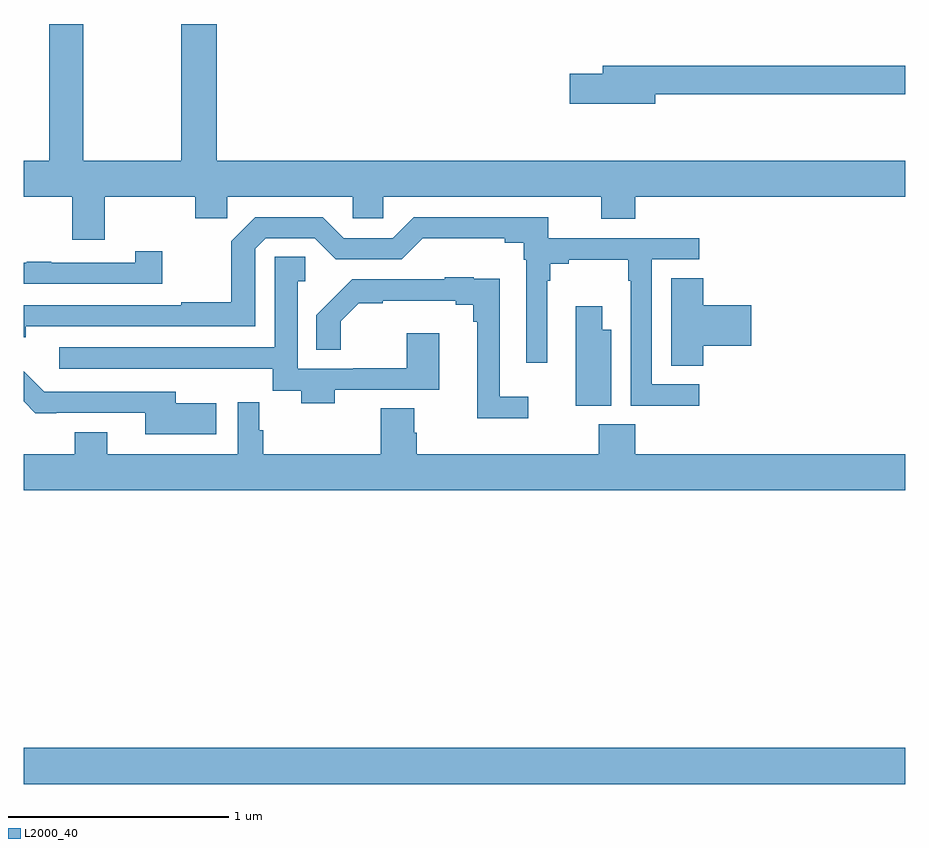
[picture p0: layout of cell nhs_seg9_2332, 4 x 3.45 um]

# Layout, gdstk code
import gdstk
lib = gdstk.Library(unit=1e-6, precision=1e-09)
def R(c, l, rs):  # rectangles x0, y0, x1, y1
    for r in rs: c.add(gdstk.rectangle(r[:2], r[2:], *l))
def P(c, l, *ps):  # polygons
    for p in ps: c.add(gdstk.Polygon(p, *l))
L2000_40 = (2000, 40)

nhs_seg9_2332 = lib.new_cell('nhs_seg9_2332')
R(nhs_seg9_2332, L2000_40, [(243,1231.052,247,1231.216)])
P(nhs_seg9_2332, L2000_40, [(243.778,1233.618),(243.923,1233.618),(243.923,1233.716),(244.494,1233.716),(244.494,1233.618),(244.632,1233.618),(244.632,1233.716),(245.621,1233.716),(245.621,1233.617),(245.774,1233.617),(245.774,1233.716),(247,1233.716),(247,1233.88),(243.875,1233.88),(243.875,1234.5),(243.715,1234.5),(243.715,1233.88),(243.27,1233.88),(243.27,1234.5),(243.115,1234.5),(243.115,1233.88),(243,1233.88),(243,1233.716),(243.221,1233.716),(243.221,1233.522),(243.369,1233.522),(243.369,1233.716),(243.778,1233.716)],
  [(245.866,1234.182),(247,1234.182),(247,1234.31),(245.627,1234.31),(245.627,1234.274),(245.478,1234.274),(245.478,1234.139),(245.866,1234.139)],
  [(246.064,1232.865),(245.85,1232.865),(245.85,1233.432),(246.064,1233.432),(246.064,1233.528),(245.379,1233.528),(245.379,1233.624),(244.77,1233.624),(244.674,1233.528),(244.452,1233.528),(244.356,1233.624),(244.05,1233.624),(243.942,1233.515),(243.942,1233.238),(243.715,1233.238),(243.715,1233.225),(243,1233.225),(243,1233.078),(243.009,1233.078),(243.009,1233.129),(244.05,1233.129),(244.05,1233.48),(244.098,1233.528),(244.32,1233.528),(244.416,1233.432),(244.716,1233.432),(244.811,1233.527),(245.183,1233.527),(245.183,1233.508),(245.268,1233.508),(245.268,1233.431),(245.28,1233.431),(245.28,1232.964),(245.376,1232.964),(245.376,1233.335),(245.389,1233.335),(245.389,1233.412),(245.473,1233.412),(245.473,1233.431),(245.742,1233.431),(245.742,1233.335),(245.754,1233.335),(245.754,1232.769),(246.064,1232.769)],
  [(243.628,1233.469),(243.507,1233.469),(243.507,1233.417),(243.125,1233.417),(243.125,1233.422),(243.013,1233.422),(243.013,1233.417),(243,1233.417),(243,1233.321),(243.628,1233.321)],
  [(244.412,1232.841),(244.885,1232.841),(244.885,1233.097),(244.738,1233.097),(244.738,1232.939),(244.495,1232.939),(244.495,1232.937),(244.243,1232.937),(244.243,1233.332),(244.278,1233.332),(244.278,1233.443),(244.14,1233.443),(244.14,1233.335),(244.139,1233.335),(244.139,1233.033),(243.162,1233.033),(243.162,1232.937),(243.861,1232.937),(243.861,1232.936),(244.13,1232.936),(244.13,1232.837),(244.259,1232.837),(244.259,1232.78),(244.412,1232.78)],
  [(245.29,1232.809),(245.161,1232.809),(245.161,1233.344),(245.043,1233.344),(245.043,1233.352),(244.911,1233.352),(244.911,1233.342),(244.49,1233.342),(244.411,1233.263),(244.412,1233.262),(244.328,1233.179),(244.328,1233.022),(244.438,1233.022),(244.438,1233.151),(244.521,1233.234),(244.63,1233.234),(244.63,1233.245),(244.961,1233.245),(244.961,1233.226),(245.04,1233.226),(245.04,1233.149),(245.057,1233.149),(245.057,1232.711),(245.29,1232.711)],
  [(246.083,1233.041),(246.301,1233.041),(246.301,1233.224),(246.083,1233.224),(246.083,1233.347),(245.939,1233.347),(245.939,1232.95),(246.083,1232.95)],
  [(245.665,1233.112),(245.626,1233.112),(245.626,1233.22),(245.504,1233.22),(245.504,1232.769),(245.665,1232.769)],
  [(243.874,1232.779),(243.691,1232.779),(243.691,1232.832),(243.093,1232.832),(243,1232.925),(243,1232.788),(243.053,1232.735),(243.148,1232.735),(243.148,1232.736),(243.551,1232.736),(243.551,1232.639),(243.874,1232.639)],
  [(247,1232.548),(245.774,1232.548),(245.774,1232.683),(245.609,1232.683),(245.609,1232.548),(244.784,1232.548),(244.784,1232.646),(244.771,1232.646),(244.771,1232.756),(244.619,1232.756),(244.619,1232.548),(244.088,1232.548),(244.088,1232.658),(244.069,1232.658),(244.069,1232.785),(243.972,1232.785),(243.972,1232.548),(243.379,1232.548),(243.379,1232.647),(243.232,1232.647),(243.232,1232.548),(243,1232.548),(243,1232.384),(247,1232.384)])

lib.write_gds('nhs_seg9_2332.gds')
